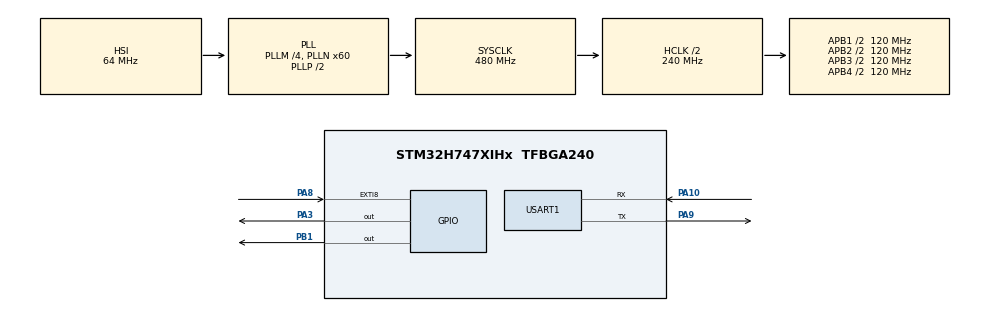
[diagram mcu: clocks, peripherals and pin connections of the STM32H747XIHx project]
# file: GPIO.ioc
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CortexM4.IPs=CORTEX_M4\:I,DEBUG,FATFS_M4\:I,FREERTOS_M4\:I,IWDG2\:I,OPENAMP_M4\:I,PDM2PCM_M4\:I,PWR,RCC,RESMGR_UTILITY,SYS_M4\:I,USB_DEVICE_M4\:I,USB_HOST_M4\:I,VREFBUF,WWDG2\:I,GPIO,DMA,BDMA,MDMA,NVIC2\:I
CortexM7.IPs=CORTEX_M7\:I,DEBUG\:I,FATFS_M7\:I,FREERTOS_M7\:I,IWDG1\:I,OPENAMP_M7\:I,PDM2PCM_M7\:I,PWR\:I,RCC\:I,RESMGR_UTILITY\:I,SYS\:I,USB_DEVICE_M7\:I,USB_HOST_M7\:I,VREFBUF\:I,WWDG1\:I,GPIO\:I,DMA\:I,BDMA\:I,MDMA\:I,NVIC1\:I,USART1\:I
CortexM7.Pins=PA8,PB1,PA3
Mcu.Family=STM32H7
Mcu.Name=STM32H747XIHx
Mcu.Package=TFBGA240
NVIC1.EXTI9_5_IRQn=true\:0\:0\:false\:false\:true\:true\:true\:true
NVIC1.PriorityGroup=NVIC_PRIORITYGROUP_4
NVIC1.USART1_IRQn=true\:0\:0\:false\:false\:true\:true\:true\:true
NVIC2.PriorityGroup=NVIC_PRIORITYGROUP_4
PA10.Mode=Asynchronous
PA10.PinAttribute=CortexM7
PA10.Signal=USART1_RX
PA3.PinAttribute=CortexM7
PA3.PinState=GPIO_PIN_SET
PA3.Signal=GPIO_Output
PA8.GPIO_PuPd=GPIO_PULLDOWN
PA8.PinAttribute=CortexM7
PA8.Signal=GPXTI8
PA9.Mode=Asynchronous
PA9.PinAttribute=CortexM7
PA9.Signal=USART1_TX
PB1.PinAttribute=CortexM7
PB1.PinState=GPIO_PIN_SET
PB1.Signal=GPIO_Output
PH0-OSC_IN\ (PH0).Mode=HSE-External-Oscillator
PH0-OSC_IN\ (PH0).PinAttribute=Free
PH0-OSC_IN\ (PH0).Signal=RCC_OSC_IN
PH1-OSC_OUT\ (PH1).Mode=HSE-External-Oscillator
PH1-OSC_OUT\ (PH1).PinAttribute=Free
PH1-OSC_OUT\ (PH1).Signal=RCC_OSC_OUT
ProjectManager.HeapSize=M4-0x200,M7-0x200
ProjectManager.StackSize=M4-0x400,M7-0x400
ProjectManager.TargetToolchain=Makefile
RCC.ADCFreq_Value=129000000
RCC.APB1Freq_Value=120000000
RCC.APB2Freq_Value=120000000
RCC.APB3Freq_Value=120000000
RCC.APB4Freq_Value=120000000
RCC.CortexFreq_Value=480000000
RCC.D1PPRE=RCC_APB3_DIV2
RCC.D2PPRE1=RCC_APB1_DIV2
RCC.D2PPRE2=RCC_APB2_DIV2
RCC.D3PPRE=RCC_APB4_DIV2
RCC.DIVM1=4
RCC.DIVN1=60
RCC.HCLKFreq_Value=240000000
RCC.HPRE=RCC_HCLK_DIV2
RCC.PLL2FRACN=0
RCC.PLL3FRACN=0
RCC.PLLFRACN=0
RCC.SYSCLKFreq_VALUE=480000000
RCC.SYSCLKSource=RCC_SYSCLKSOURCE_PLLCLK
RCC.USBFreq_Value=480000000
SYS.userName=SYS_M7
USART1.VirtualMode-Asynchronous=VM_ASYNC
VP_SYS_M4_VS_Systick.Mode=SysTick
board=custom

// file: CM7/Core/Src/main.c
/* USER CODE BEGIN Header */
/**
  ******************************************************************************
  * @file           : main.c
  * @brief          : Main program body
  ******************************************************************************
  * @attention
  *
  * Copyright (c) 2026 STMicroelectronics.
  * All rights reserved.
  *
  * This software is licensed under terms that can be found in the LICENSE file
  * in the root directory of this software component.
  * If no LICENSE file comes with this software, it is provided AS-IS.
  *
  ******************************************************************************
  */
/* USER CODE END Header */
#include "main.h"
#include "usart.h"
#include "gpio.h"

/* USER CODE BEGIN Includes */
#include <stdio.h>
#include "boot_config.h"
#include "boot_jump.h"
#include "boot_meta.h"
#include "boot_slot.h"
#include "boot_slot_copy.h"
/* USER CODE END Includes */

/* USER CODE BEGIN PD */

#ifndef HSEM_ID_0
#define HSEM_ID_0 (0U) /* HW semaphore 0*/
#endif

/* USER CODE END PD */

void SystemClock_Config(void);

int main(void)
{
/* USER CODE BEGIN Boot_Mode_Sequence_0 */
  int32_t timeout;
/* USER CODE END Boot_Mode_Sequence_0 */

/* USER CODE BEGIN Boot_Mode_Sequence_1 */
  /* 等待 CM4 进入 STOP；超时仍继续，避免未烧 CM4 时 Bootloader 卡死 */
  timeout = 0xFFFF;
  while((__HAL_RCC_GET_FLAG(RCC_FLAG_D2CKRDY) != RESET) && (timeout-- > 0));
  if ( timeout < 0 )
  {
    /* CM4 未进 STOP，IAP 跳转前由 Boot_HoldCm4() 拉住 CM4 */
  }
/* USER CODE END Boot_Mode_Sequence_1 */
  /* MCU Configuration--------------------------------------------------------*/

  /* Reset of all peripherals, Initializes the Flash interface and the Systick. */
  HAL_Init();

  /* Configure the system clock */
  SystemClock_Config();
/* USER CODE BEGIN Boot_Mode_Sequence_2 */
  /* Bootloader 不在此处唤醒 CM4；由 APP �? Boot_Mode_Sequence_2 负责 */
/* USER CODE END Boot_Mode_Sequence_2 */

  /* Initialize all configured peripherals */
  MX_GPIO_Init();
  MX_USART1_UART_Init();
  /* USER CODE BEGIN 2 */
  boot_meta_t meta;

  boot_meta_hw_init();

  printf("\r\n=== STM32H7 Bootloader (CM7) ===\r\n");
  printf("Tag: %s\r\n", BOOT_FW_TAG);
  printf("USART1 115200, PA9/PA10\r\n");

  {
    boot_meta_t meta_dbg;
    uint8_t slot_a_ok = boot_slot_is_valid(CM7_APP_SLOT_A_INDEX);
    uint8_t slot_b_ok = boot_slot_is_valid(CM7_APP_SLOT_B_INDEX);

    (void)boot_meta_load(&meta_dbg);
    printf("[BOOT] meta: active=%u pending=%u trial=%u flags=0x%02X\r\n",
           (unsigned int)meta_dbg.active_slot,
           (unsigned int)meta_dbg.pending_slot,
           (unsigned int)meta_dbg.boot_trial,
           (unsigned int)meta_dbg.flags);
    printf("[BOOT] slot A(0x%08lX) valid=%u, slot B(0x%08lX) valid=%u\r\n",
           (unsigned long)CM7_APP_SLOT_A_BASE,
           (unsigned int)slot_a_ok,
           (unsigned long)CM7_APP_SLOT_B_BASE,
           (unsigned int)slot_b_ok);
  }

  (void)boot_meta_load(&meta);

  if (((meta.flags & BOOT_META_FLAG_PENDING) != 0U) &&
      (meta.pending_slot == CM7_APP_SLOT_B_INDEX) &&
      (boot_slot_is_valid(CM7_APP_SLOT_B_INDEX) != 0)) {
    printf("[BOOT] pending OTA in slot B, copying to slot A...\r\n");
    if (boot_slot_copy_to_run_slot(CM7_APP_SLOT_B_INDEX) != 0) {
      printf("[BOOT] copy B->A failed, clear pending\r\n");
      meta.flags &= (uint8_t)~BOOT_META_FLAG_PENDING;
      meta.boot_trial = 0U;
      (void)boot_meta_save(&meta);
    } else {
      printf("[BOOT] copy B->A OK\r\n");
    }
  }

  if (Boot_IsAppValid())
  {
    uint32_t app_base = CM7_APP_SLOT_A_BASE;
    uint32_t sp = *(__IO uint32_t *)app_base;
    uint32_t pc = *(__IO uint32_t *)(app_base + 4U);

    if ((meta.flags & BOOT_META_FLAG_PENDING) != 0U) {
      if (meta.boot_trial > 0U) {
        meta.boot_trial--;
      }
      if (meta.boot_trial == 0U) {
        meta.flags &= (uint8_t)~BOOT_META_FLAG_PENDING;
      }
      (void)boot_meta_save(&meta);
      printf("[BOOT] trial left=%u\r\n", (unsigned int)meta.boot_trial);
    }

    printf("Valid APP @ 0x%08lX, jumping...\r\n", (unsigned long)app_base);
    printf("[BOOT] vec SP=0x%08lX Reset=0x%08lX\r\n", (unsigned long)sp, (unsigned long)pc);
    printf("[BOOT] D2CKRDY=%u (1=CM4 domain active)\r\n",
           (unsigned int)(__HAL_RCC_GET_FLAG(RCC_FLAG_D2CKRDY) != RESET));
    printf("[BOOT] hold CM4 reset, then jump...\r\n");
    Boot_JumpToApp();
    printf("[BOOT] ERROR: Jump returned (should never happen)\r\n");
  }
  else
  {
    uint32_t sp = *(__IO uint32_t *)CM7_APP_SLOT_A_BASE;
    uint32_t pc = *(__IO uint32_t *)(CM7_APP_SLOT_A_BASE + 4U);
    printf("No valid APP @ 0x%08lX, stay in Boot.\r\n", (unsigned long)CM7_APP_SLOT_A_BASE);
    printf("  vec: SP=0x%08lX Reset=0x%08lX\r\n", (unsigned long)sp, (unsigned long)pc);
  }
  /* USER CODE END 2 */

  /* Infinite loop */
  while (1)
  {

    /* USER CODE BEGIN 3 */
    HAL_Delay(1000);
  }
  /* USER CODE END 3 */
}

void SystemClock_Config(void)
{
  RCC_OscInitTypeDef RCC_OscInitStruct = {0};
  RCC_ClkInitTypeDef RCC_ClkInitStruct = {0};

  /** Supply configuration update enable
  */
  HAL_PWREx_ConfigSupply(PWR_LDO_SUPPLY);

  /** Configure the main internal regulator output voltage
  */
  __HAL_PWR_VOLTAGESCALING_CONFIG(PWR_REGULATOR_VOLTAGE_SCALE1);

  while(!__HAL_PWR_GET_FLAG(PWR_FLAG_VOSRDY)) {}

  __HAL_RCC_SYSCFG_CLK_ENABLE();
  __HAL_PWR_VOLTAGESCALING_CONFIG(PWR_REGULATOR_VOLTAGE_SCALE0);

  while(!__HAL_PWR_GET_FLAG(PWR_FLAG_VOSRDY)) {}

  /** Initializes the RCC Oscillators according to the specified parameters
  * in the RCC_OscInitTypeDef structure.
  */
  RCC_OscInitStruct.OscillatorType = RCC_OSCILLATORTYPE_HSI;
  RCC_OscInitStruct.HSIState = RCC_HSI_DIV1;
  RCC_OscInitStruct.HSICalibrationValue = RCC_HSICALIBRATION_DEFAULT;
  RCC_OscInitStruct.PLL.PLLState = RCC_PLL_ON;
  RCC_OscInitStruct.PLL.PLLSource = RCC_PLLSOURCE_HSI;
  RCC_OscInitStruct.PLL.PLLM = 4;
  RCC_OscInitStruct.PLL.PLLN = 60;
  RCC_OscInitStruct.PLL.PLLP = 2;
  RCC_OscInitStruct.PLL.PLLQ = 2;
  RCC_OscInitStruct.PLL.PLLR = 2;
  RCC_OscInitStruct.PLL.PLLRGE = RCC_PLL1VCIRANGE_3;
  RCC_OscInitStruct.PLL.PLLVCOSEL = RCC_PLL1VCOWIDE;
  RCC_OscInitStruct.PLL.PLLFRACN = 0;
  if (HAL_RCC_OscConfig(&RCC_OscInitStruct) != HAL_OK)
  {
    Error_Handler();
  }

  /** Initializes the CPU, AHB and APB buses clocks
  */
  RCC_ClkInitStruct.ClockType = RCC_CLOCKTYPE_HCLK|RCC_CLOCKTYPE_SYSCLK
                              |RCC_CLOCKTYPE_PCLK1|RCC_CLOCKTYPE_PCLK2
                              |RCC_CLOCKTYPE_D3PCLK1|RCC_CLOCKTYPE_D1PCLK1;
  RCC_ClkInitStruct.SYSCLKSource = RCC_SYSCLKSOURCE_PLLCLK;
  RCC_ClkInitStruct.SYSCLKDivider = RCC_SYSCLK_DIV1;
  RCC_ClkInitStruct.AHBCLKDivider = RCC_HCLK_DIV2;
  RCC_ClkInitStruct.APB3CLKDivider = RCC_APB3_DIV2;
  RCC_ClkInitStruct.APB1CLKDivider = RCC_APB1_DIV2;
  RCC_ClkInitStruct.APB2CLKDivider = RCC_APB2_DIV2;
  RCC_ClkInitStruct.APB4CLKDivider = RCC_APB4_DIV2;

  if (HAL_RCC_ClockConfig(&RCC_ClkInitStruct, FLASH_LATENCY_4) != HAL_OK)
  {
    Error_Handler();
  }
}

void Error_Handler(void)
{
  __disable_irq();
  while (1)
  {
  }
}
